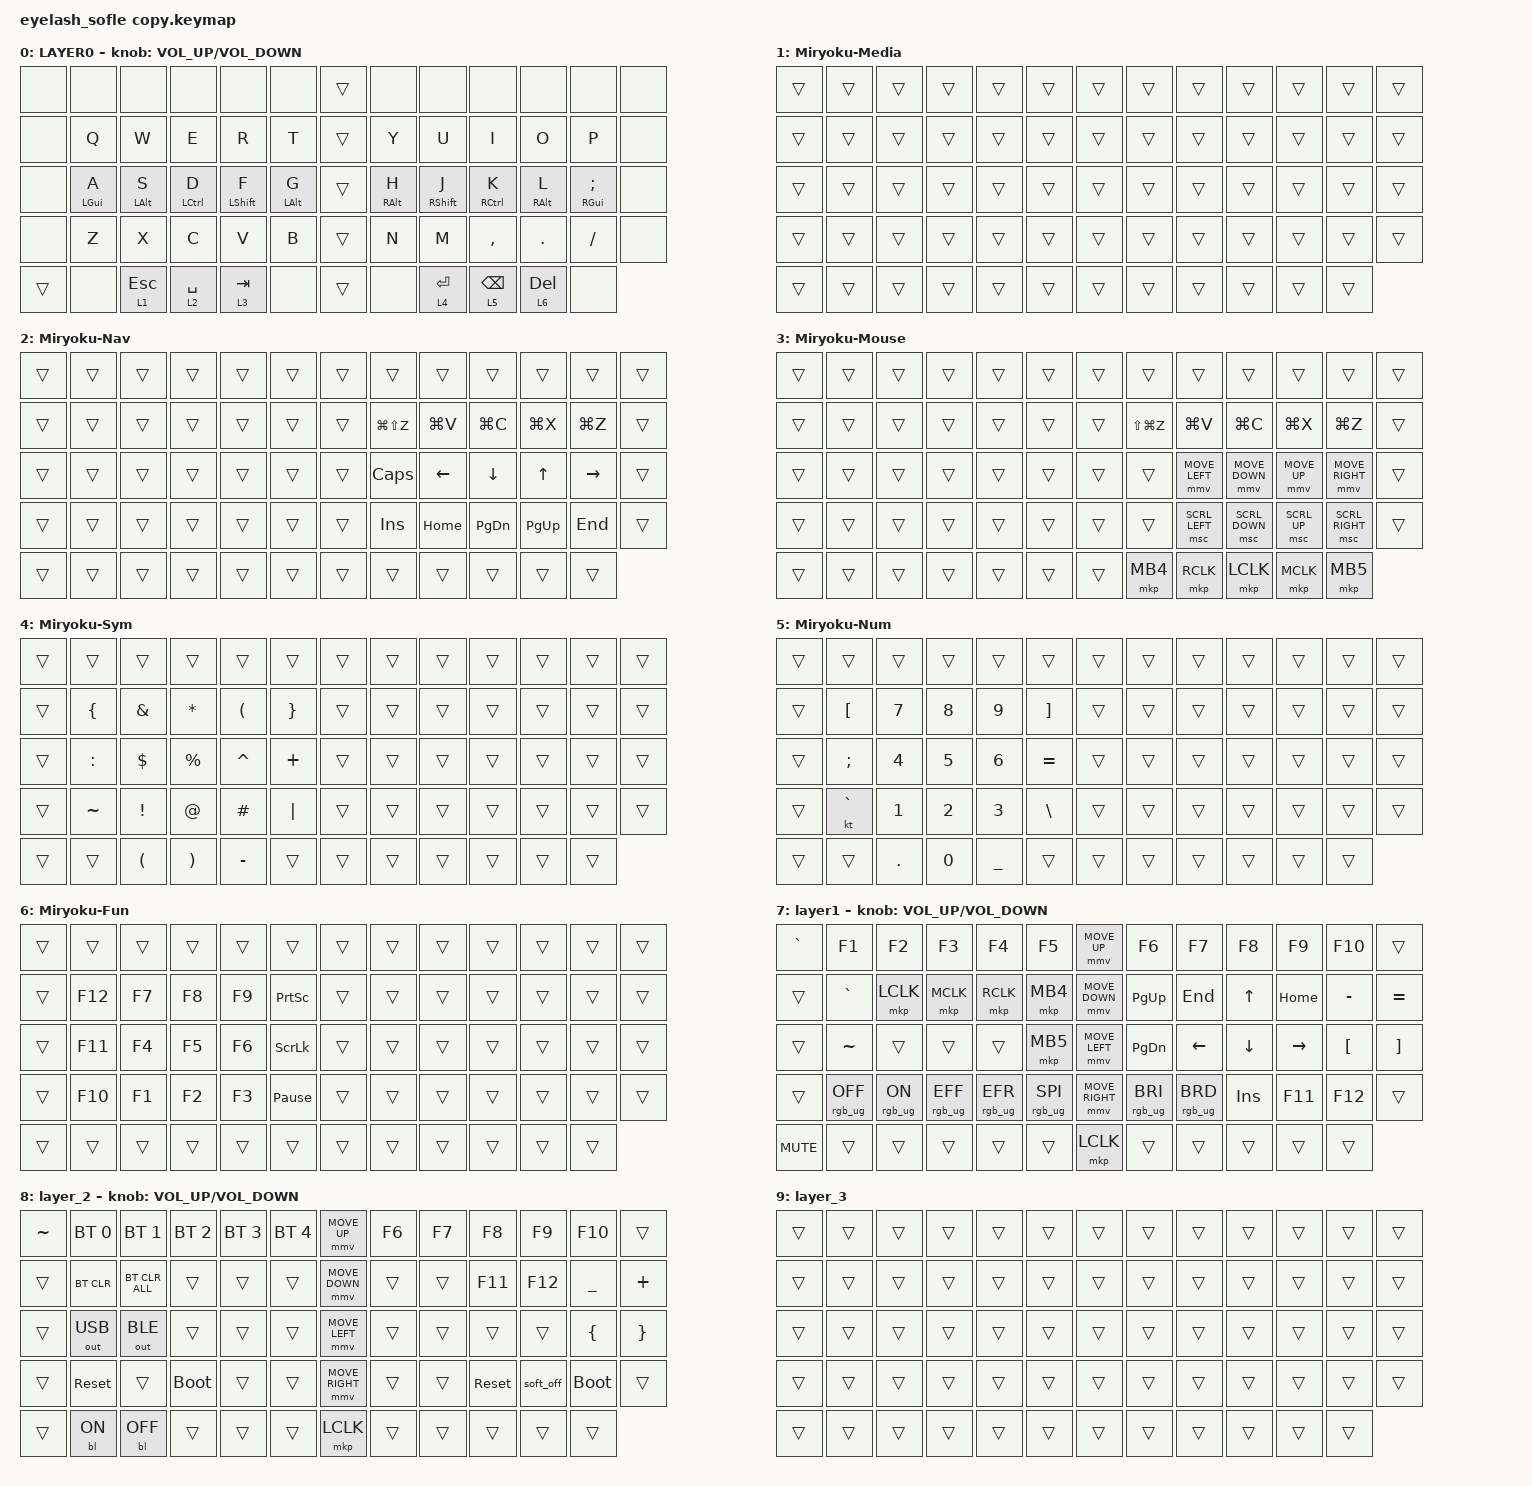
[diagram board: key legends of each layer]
#define ZMK_POINTING_DEFAULT_MOVE_VAL 1200  // 600
#define ZMK_POINTING_DEFAULT_SCRL_VAL 25   // 10

#include <input/processors.dtsi>
#include <zephyr/dt-bindings/input/input-event-codes.h>
#include <behaviors.dtsi>
#include <dt-bindings/zmk/backlight.h>
#include <dt-bindings/zmk/bt.h>
#include <dt-bindings/zmk/keys.h>
#include <dt-bindings/zmk/outputs.h>
#include <dt-bindings/zmk/pointing.h>
#include <dt-bindings/zmk/rgb.h>

&mmv_input_listener { input-processors = <&zip_xy_scaler 2 1>; };

&msc_input_listener { input-processors = <&zip_scroll_scaler 2 1>; };

&mt {
    tapping-term-ms = <220>;
    quick-tap-ms = <0>;
    flavor = "balanced";
};

/ {
    keymap {
        compatible = "zmk,keymap";

        layer0 {
            bindings = <
&none   &none           &none           &none               &none             &none             &trans  &none            &none              &none                &none            &none               &none
&none   &kp Q           &kp W           &kp E               &kp R             &kp T             &trans  &kp Y            &kp U              &kp I                &kp O            &kp P               &none
&none   &mt LEFT_GUI A  &mt LEFT_ALT S  &mt LEFT_CONTROL D  &mt LEFT_SHIFT F  &mt LEFT_ALT G    &trans  &mt RIGHT_ALT H  &mt RIGHT_SHIFT J  &mt RIGHT_CONTROL K  &mt RIGHT_ALT L  &mt RIGHT_GUI SEMI  &none
&none   &kp Z           &kp X           &kp C               &kp V             &kp B             &trans  &kp N            &kp M              &kp COMMA            &kp DOT          &kp FSLH            &none
&trans  &none           &lt 1 ESC       &lt 2 SPACE         &lt 3 TAB         &none             &trans  &none            &lt 4 ENTER        &lt 5 BACKSPACE      &lt 6 DELETE     &none
            >;

            display-name = "LAYER0";
            sensor-bindings = <&inc_dec_kp C_VOLUME_UP C_VOLUME_DOWN>;
        };

        Miryoku-Media {
            bindings = <
&trans  &trans  &trans  &trans  &trans  &trans    &trans  &trans  &trans  &trans  &trans  &trans  &trans
&trans  &trans  &trans  &trans  &trans  &trans    &trans  &trans  &trans  &trans  &trans  &trans  &trans
&trans  &trans  &trans  &trans  &trans  &trans    &trans  &trans  &trans  &trans  &trans  &trans  &trans
&trans  &trans  &trans  &trans  &trans  &trans    &trans  &trans  &trans  &trans  &trans  &trans  &trans
&trans  &trans  &trans  &trans  &trans  &trans    &trans  &trans  &trans  &trans  &trans  &trans
            >;
        };

        Miryoku-Nav {
            bindings = <
&trans  &trans  &trans  &trans  &trans  &trans    &trans  &trans         &trans     &trans         &trans        &trans     &trans
&trans  &trans  &trans  &trans  &trans  &trans    &trans  &kp LG(LS(Z))  &kp LG(V)  &kp LG(C)      &kp LG(X)     &kp LG(Z)  &trans
&trans  &trans  &trans  &trans  &trans  &trans    &trans  &kp CAPSLOCK   &kp LEFT   &kp DOWN       &kp UP_ARROW  &kp RIGHT  &trans
&trans  &trans  &trans  &trans  &trans  &trans    &trans  &kp INSERT     &kp HOME   &kp PAGE_DOWN  &kp PAGE_UP   &kp END    &trans
&trans  &trans  &trans  &trans  &trans  &trans    &trans  &trans         &trans     &trans         &trans        &trans
            >;
        };

        Miryoku-Mouse {
            bindings = <
&trans  &trans  &trans  &trans  &trans  &trans    &trans  &trans         &trans          &trans          &trans        &trans           &trans
&trans  &trans  &trans  &trans  &trans  &trans    &trans  &kp LS(LG(Z))  &kp LG(V)       &kp LG(C)       &kp LG(X)     &kp LG(Z)        &trans
&trans  &trans  &trans  &trans  &trans  &trans    &trans  &trans         &mmv MOVE_LEFT  &mmv MOVE_DOWN  &mmv MOVE_UP  &mmv MOVE_RIGHT  &trans
&trans  &trans  &trans  &trans  &trans  &trans    &trans  &trans         &msc SCRL_LEFT  &msc SCRL_DOWN  &msc SCRL_UP  &msc SCRL_RIGHT  &trans
&trans  &trans  &trans  &trans  &trans  &trans    &trans  &mkp MB4       &mkp RCLK       &mkp LCLK       &mkp MCLK     &mkp MB5
            >;
        };

        Miryoku-Sym {
            bindings = <
&trans  &trans          &trans                &trans                 &trans                &trans             &trans  &trans  &trans  &trans  &trans  &trans  &trans
&trans  &kp LEFT_BRACE  &kp AMPERSAND         &kp ASTERISK           &kp LEFT_PARENTHESIS  &kp RIGHT_BRACE    &trans  &trans  &trans  &trans  &trans  &trans  &trans
&trans  &kp COLON       &kp DOLLAR            &kp PERCENT            &kp CARET             &kp PLUS           &trans  &trans  &trans  &trans  &trans  &trans  &trans
&trans  &kp TILDE       &kp EXCLAMATION       &kp AT_SIGN            &kp HASH              &kp PIPE           &trans  &trans  &trans  &trans  &trans  &trans  &trans
&trans  &trans          &kp LEFT_PARENTHESIS  &kp RIGHT_PARENTHESIS  &kp MINUS             &trans             &trans  &trans  &trans  &trans  &trans  &trans
            >;
        };

        Miryoku-Num {
            bindings = <
&trans  &trans            &trans        &trans        &trans          &trans               &trans  &trans  &trans  &trans  &trans  &trans  &trans
&trans  &kp LEFT_BRACKET  &kp NUMBER_7  &kp NUMBER_8  &kp NUMBER_9    &kp RIGHT_BRACKET    &trans  &trans  &trans  &trans  &trans  &trans  &trans
&trans  &kp SEMICOLON     &kp NUMBER_4  &kp NUMBER_5  &kp NUMBER_6    &kp EQUAL            &trans  &trans  &trans  &trans  &trans  &trans  &trans
&trans  &kt GRAVE         &kp NUMBER_1  &kp NUMBER_2  &kp NUMBER_3    &kp BACKSLASH        &trans  &trans  &trans  &trans  &trans  &trans  &trans
&trans  &trans            &kp PERIOD    &kp NUMBER_0  &kp UNDERSCORE  &trans               &trans  &trans  &trans  &trans  &trans  &trans
            >;
        };

        Miryoku-Fun {
            bindings = <
&trans  &trans   &trans  &trans  &trans  &trans             &trans  &trans  &trans  &trans  &trans  &trans  &trans
&trans  &kp F12  &kp F7  &kp F8  &kp F9  &kp PRINTSCREEN    &trans  &trans  &trans  &trans  &trans  &trans  &trans
&trans  &kp F11  &kp F4  &kp F5  &kp F6  &kp SCROLLLOCK     &trans  &trans  &trans  &trans  &trans  &trans  &trans
&trans  &kp F10  &kp F1  &kp F2  &kp F3  &kp PAUSE_BREAK    &trans  &trans  &trans  &trans  &trans  &trans  &trans
&trans  &trans   &trans  &trans  &trans  &trans             &trans  &trans  &trans  &trans  &trans  &trans
            >;
        };

        layer_1 {
            bindings = <
&kp GRAVE   &kp F1           &kp F2          &kp F3           &kp F4           &kp F5             &mmv MOVE_UP     &kp F6           &kp F7           &kp F8      &kp F9     &kp F10           &trans
&trans      &kp GRAVE        &mkp LCLK       &mkp MCLK        &mkp RCLK        &mkp MB4           &mmv MOVE_DOWN   &kp PG_UP        &kp END          &kp UP      &kp HOME   &kp MINUS         &kp EQUAL
&trans      &kp TILDE        &trans          &trans           &trans           &mkp MB5           &mmv MOVE_LEFT   &kp PG_DN        &kp LEFT         &kp DOWN    &kp RIGHT  &kp LEFT_BRACKET  &kp RIGHT_BRACKET
&trans      &rgb_ug RGB_OFF  &rgb_ug RGB_ON  &rgb_ug RGB_EFF  &rgb_ug RGB_EFR  &rgb_ug RGB_SPI    &mmv MOVE_RIGHT  &rgb_ug RGB_BRI  &rgb_ug RGB_BRD  &kp INSERT  &kp F11    &kp F12           &trans
&kp C_MUTE  &trans           &trans          &trans           &trans           &trans             &mkp LCLK        &trans           &trans           &trans      &trans     &trans
            >;

            display-name = "layer1";
            sensor-bindings = <&inc_dec_kp C_VOLUME_UP C_VOLUME_DOWN>;
        };

        layer_2 {
            bindings = <
&kp TILDE  &bt BT_SEL 0  &bt BT_SEL 1    &bt BT_SEL 2  &bt BT_SEL 3  &bt BT_SEL 4    &mmv MOVE_UP     &kp F6  &kp F7  &kp F8      &kp F9     &kp F10      &trans
&trans     &bt BT_CLR    &bt BT_CLR_ALL  &trans        &trans        &trans          &mmv MOVE_DOWN   &trans  &trans  &kp F11     &kp F12    &kp UNDER    &kp PLUS
&trans     &out OUT_USB  &out OUT_BLE    &trans        &trans        &trans          &mmv MOVE_LEFT   &trans  &trans  &trans      &trans     &kp LBRC     &kp RBRC
&trans     &sys_reset    &trans          &bootloader   &trans        &trans          &mmv MOVE_RIGHT  &trans  &trans  &sys_reset  &soft_off  &bootloader  &trans
&trans     &bl BL_ON     &bl BL_OFF      &trans        &trans        &trans          &mkp LCLK        &trans  &trans  &trans      &trans     &trans
            >;

            sensor-bindings = <&inc_dec_kp C_VOLUME_UP C_VOLUME_DOWN>;
        };

        layer_3 {
            bindings = <
&trans  &trans  &trans  &trans  &trans  &trans    &trans  &trans  &trans  &trans  &trans  &trans  &trans
&trans  &trans  &trans  &trans  &trans  &trans    &trans  &trans  &trans  &trans  &trans  &trans  &trans
&trans  &trans  &trans  &trans  &trans  &trans    &trans  &trans  &trans  &trans  &trans  &trans  &trans
&trans  &trans  &trans  &trans  &trans  &trans    &trans  &trans  &trans  &trans  &trans  &trans  &trans
&trans  &trans  &trans  &trans  &trans  &trans    &trans  &trans  &trans  &trans  &trans  &trans
            >;
        };
    };
};
